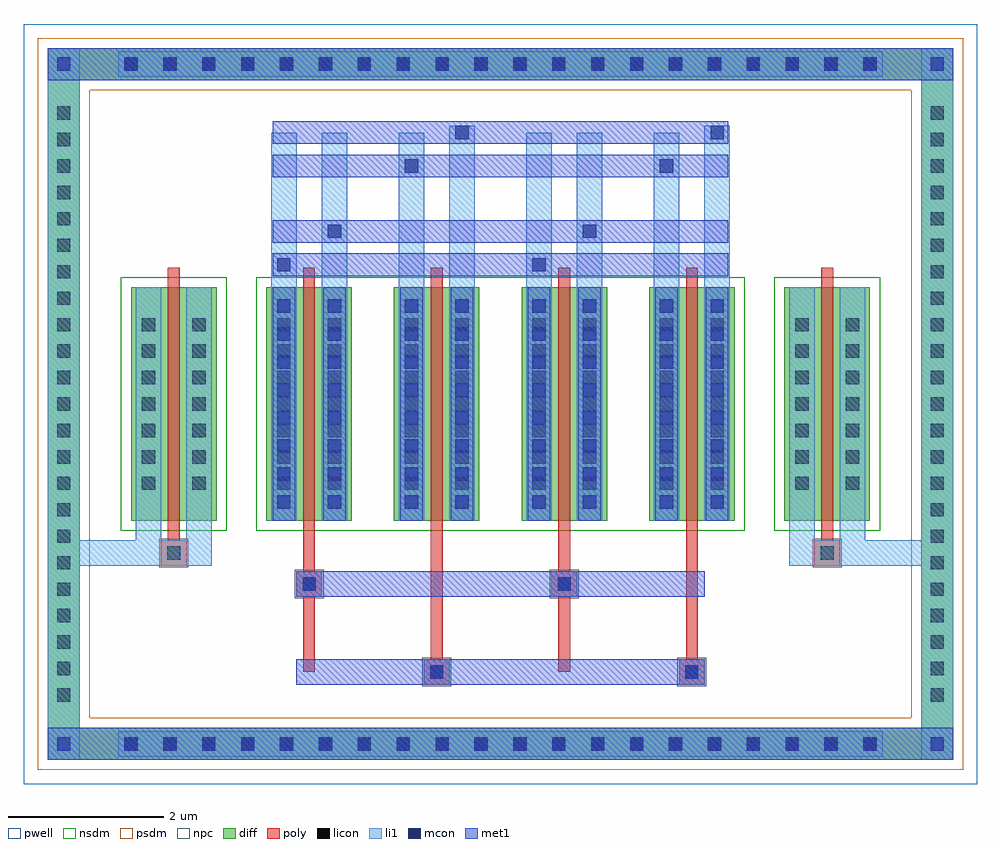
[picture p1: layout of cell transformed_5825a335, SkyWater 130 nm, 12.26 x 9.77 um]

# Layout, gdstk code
import gdstk
lib = gdstk.Library(unit=1e-6, precision=5e-09)
def R(c, l, rs):  # rectangles x0, y0, x1, y1
    for r in rs: c.add(gdstk.rectangle(r[:2], r[2:], *l))
def A(c, l, x, y, w, h, nx, ny, dx, dy):  # array of equal rectangles
    R(c, l, [(x+i*dx, y+j*dy, x+i*dx+w, y+j*dy+h) for i in range(nx) for j in range(ny)])
def P(c, l, *ps):  # polygons
    for p in ps: c.add(gdstk.Polygon(p, *l))
pwell = (64, 44)
diff = (65, 20)
poly = (66, 20)
licon = (66, 44)
li1 = (67, 20)
mcon = (67, 44)
met1 = (68, 20)
nsdm = (93, 44)
psdm = (94, 20)
npc = (95, 20)

unnamed_1f8a75d1_1 = lib.new_cell('Unnamed_1f8a75d1$1')
A(unnamed_1f8a75d1_1, diff, -4.955, -4.575, 0.41, 0.41, 20, 2, 0.5, 8.74)
A(unnamed_1f8a75d1_1, diff, -5.82, -3.945, 0.41, 0.41, 1, 23, 0, 0.34)
A(unnamed_1f8a75d1_1, diff, 5.41, -3.945, 0.41, 0.41, 1, 23, 0, 0.34)
R(unnamed_1f8a75d1_1, diff, [(-4.955,-4.575,4.955,-4.165), (-5.82,-3.945,-5.41,3.945), (5.41,-3.945,5.82,3.945), (-4.955,4.165,4.955,4.575)])
P(unnamed_1f8a75d1_1, diff, [(5.82,4.575),(-5.82,4.575),(-5.82,-4.165),(-5.41,-4.165),(-5.41,4.165),(5.41,4.165),(5.41,-4.165),(-5.41,-4.165),(-5.82,-4.165),(-5.82,-4.575),(5.82,-4.575)])
A(unnamed_1f8a75d1_1, licon, -4.835, -4.455, 0.17, 0.17, 20, 2, 0.5, 8.74)
A(unnamed_1f8a75d1_1, licon, -5.7, -3.825, 0.17, 0.17, 1, 23, 0, 0.34)
A(unnamed_1f8a75d1_1, licon, 5.53, -3.825, 0.17, 0.17, 1, 23, 0, 0.34)
A(unnamed_1f8a75d1_1, li1, -4.915, -4.535, 0.33, 0.33, 20, 2, 0.5, 8.74)
A(unnamed_1f8a75d1_1, li1, -5.78, -3.905, 0.33, 0.33, 1, 23, 0, 0.34)
A(unnamed_1f8a75d1_1, li1, 5.45, -3.905, 0.33, 0.33, 1, 23, 0, 0.34)
R(unnamed_1f8a75d1_1, li1, [(-5.82,-4.575,-5.41,-4.165), (5.41,-4.575,5.82,-4.165), (-4.915,-4.535,4.915,-4.205), (-5.7,-4.455,-5.53,-4.285), (-5.7,-4.455,-5.53,-4.285), (5.53,-4.455,5.7,-4.285), (5.53,-4.455,5.7,-4.285), (-5.82,-4.165,-5.41,4.165), (5.41,-4.165,5.82,4.165), (-5.82,4.165,-5.41,4.575), (5.41,4.165,5.82,4.575), (-4.915,4.205,4.915,4.535), (-5.7,4.285,-5.53,4.455), (-5.7,4.285,-5.53,4.455), (5.53,4.285,5.7,4.455), (5.53,4.285,5.7,4.455)])
A(unnamed_1f8a75d1_1, mcon, -4.835, -4.455, 0.17, 0.17, 20, 2, 0.5, 8.74)
R(unnamed_1f8a75d1_1, mcon, [(-5.7,-4.455,-5.53,-4.285), (5.53,-4.455,5.7,-4.285), (-5.7,4.285,-5.53,4.455), (5.53,4.285,5.7,4.455)])
A(unnamed_1f8a75d1_1, met1, -4.895, -4.515, 0.29, 0.29, 20, 2, 0.5, 8.74)
R(unnamed_1f8a75d1_1, met1, [(-5.82,-4.575,-5.41,-4.165), (-5.82,-4.575,-5.41,-4.165), (-5.41,-4.575,5.41,-4.165), (5.41,-4.575,5.82,-4.165), (5.41,-4.575,5.82,-4.165), (-5.76,-4.515,-5.47,-4.225), (5.47,-4.515,5.76,-4.225), (-5.82,4.165,-5.41,4.575), (-5.82,4.165,-5.41,4.575), (-5.41,4.165,5.41,4.575), (5.41,4.165,5.82,4.575), (5.41,4.165,5.82,4.575), (-5.76,4.225,-5.47,4.515), (5.47,4.225,5.76,4.515)])
P(unnamed_1f8a75d1_1, psdm, [(5.95,4.705),(-5.95,4.705),(-5.95,-4.035),(-5.28,-4.035),(-5.28,4.035),(5.28,4.035),(5.28,-4.035),(-5.28,-4.035),(-5.95,-4.035),(-5.95,-4.705),(5.95,-4.705)])

straight_route_d74154d6_ = lib.new_cell('straight_route_d74154d6$1')
R(straight_route_d74154d6_, li1, [(-5.82,-2.08,-4.365,-1.75)])

straight_route_7f09cb2a_ = lib.new_cell('straight_route_7f09cb2a$1')
R(straight_route_7f09cb2a_, li1, [(4.365,-2.08,5.82,-1.75)])

transformed_5825a335 = lib.new_cell('transformed_5825a335')
R(transformed_5825a335, pwell, [(-6.13,-4.885,6.13,4.885)])
A(transformed_5825a335, diff, -3.01, -1.5, 1.1, 3, 4, 1, 1.64, 0)
R(transformed_5825a335, diff, [(-4.75,-1.5,-3.65,1.5), (3.65,-1.5,4.75,1.5)])
A(transformed_5825a335, poly, -2.535, -1.75, 0.15, 3.5, 4, 1, 1.64, 0)
R(transformed_5825a335, poly, [(-0.985,-3.61,-0.655,-3.28), (-0.985,-3.61,-0.655,-3.28), (2.295,-3.61,2.625,-3.28), (2.295,-3.61,2.625,-3.28), (-2.535,-3.445,-2.385,-1.75), (0.745,-3.445,0.895,-1.75), (-0.895,-3.28,-0.745,-1.75), (2.385,-3.28,2.535,-1.75), (-2.625,-2.48,-2.295,-2.15), (-2.625,-2.48,-2.295,-2.15), (0.655,-2.48,0.985,-2.15), (0.655,-2.48,0.985,-2.15), (-2.535,-2.15,-2.385,-1.75), (0.745,-2.15,0.895,-1.75), (-4.365,-2.08,-4.035,-1.75), (-4.365,-2.08,-4.035,-1.75), (4.035,-2.08,4.365,-1.75), (4.035,-2.08,4.365,-1.75), (-4.275,-1.75,-4.125,1.75), (4.125,-1.75,4.275,1.75)])
A(transformed_5825a335, licon, -4.61, -1.105, 0.17, 0.17, 1, 7, 0, 0.34)
A(transformed_5825a335, licon, -3.96, -1.105, 0.17, 0.17, 1, 7, 0, 0.34)
A(transformed_5825a335, licon, -2.87, -1.105, 0.17, 0.17, 1, 7, 0, 0.34)
A(transformed_5825a335, licon, -2.22, -1.105, 0.17, 0.17, 1, 7, 0, 0.34)
A(transformed_5825a335, licon, -1.23, -1.105, 0.17, 0.17, 1, 7, 0, 0.34)
A(transformed_5825a335, licon, -0.58, -1.105, 0.17, 0.17, 1, 7, 0, 0.34)
A(transformed_5825a335, licon, 0.41, -1.105, 0.17, 0.17, 1, 7, 0, 0.34)
A(transformed_5825a335, licon, 1.06, -1.105, 0.17, 0.17, 1, 7, 0, 0.34)
A(transformed_5825a335, licon, 2.05, -1.105, 0.17, 0.17, 1, 7, 0, 0.34)
A(transformed_5825a335, licon, 2.7, -1.105, 0.17, 0.17, 1, 7, 0, 0.34)
A(transformed_5825a335, licon, 3.79, -1.105, 0.17, 0.17, 1, 7, 0, 0.34)
A(transformed_5825a335, licon, 4.44, -1.105, 0.17, 0.17, 1, 7, 0, 0.34)
R(transformed_5825a335, licon, [(-0.905,-3.53,-0.735,-3.36), (2.375,-3.53,2.545,-3.36), (-2.545,-2.4,-2.375,-2.23), (0.735,-2.4,0.905,-2.23), (-4.285,-2,-4.115,-1.83), (4.115,-2,4.285,-1.83)])
A(transformed_5825a335, li1, -2.87, -1.345, 0.17, 0.17, 1, 8, 0, 0.36)
A(transformed_5825a335, li1, -2.22, -1.345, 0.17, 0.17, 1, 8, 0, 0.36)
A(transformed_5825a335, li1, -1.23, -1.345, 0.17, 0.17, 1, 8, 0, 0.36)
A(transformed_5825a335, li1, -0.58, -1.345, 0.17, 0.17, 1, 8, 0, 0.36)
A(transformed_5825a335, li1, 0.41, -1.345, 0.17, 0.17, 1, 8, 0, 0.36)
A(transformed_5825a335, li1, 1.06, -1.345, 0.17, 0.17, 1, 8, 0, 0.36)
A(transformed_5825a335, li1, 2.05, -1.345, 0.17, 0.17, 1, 8, 0, 0.36)
A(transformed_5825a335, li1, 2.7, -1.345, 0.17, 0.17, 1, 8, 0, 0.36)
A(transformed_5825a335, li1, -4.69, -1.185, 0.33, 0.33, 1, 7, 0, 0.34)
A(transformed_5825a335, li1, -4.04, -1.185, 0.33, 0.33, 1, 7, 0, 0.34)
A(transformed_5825a335, li1, -2.95, -1.185, 0.33, 0.33, 1, 7, 0, 0.34)
A(transformed_5825a335, li1, -2.3, -1.185, 0.33, 0.33, 1, 7, 0, 0.34)
A(transformed_5825a335, li1, -1.31, -1.185, 0.33, 0.33, 1, 7, 0, 0.34)
A(transformed_5825a335, li1, -0.66, -1.185, 0.33, 0.33, 1, 7, 0, 0.34)
A(transformed_5825a335, li1, 0.33, -1.185, 0.33, 0.33, 1, 7, 0, 0.34)
A(transformed_5825a335, li1, 0.98, -1.185, 0.33, 0.33, 1, 7, 0, 0.34)
A(transformed_5825a335, li1, 1.97, -1.185, 0.33, 0.33, 1, 7, 0, 0.34)
A(transformed_5825a335, li1, 2.62, -1.185, 0.33, 0.33, 1, 7, 0, 0.34)
A(transformed_5825a335, li1, 3.71, -1.185, 0.33, 0.33, 1, 7, 0, 0.34)
A(transformed_5825a335, li1, 4.36, -1.185, 0.33, 0.33, 1, 7, 0, 0.34)
R(transformed_5825a335, li1, [(-0.985,-3.61,-0.655,-3.28), (2.295,-3.61,2.625,-3.28), (-2.625,-2.48,-2.295,-2.15), (0.655,-2.48,0.985,-2.15), (-4.69,-2.08,-4.365,-1.75), (-4.69,-2.08,-4.36,-1.5), (-4.365,-2.08,-4.035,-1.75), (-4.04,-2.08,-3.71,-1.5), (-4.035,-2.08,-3.71,-1.75), (3.71,-2.08,4.035,-1.75), (3.71,-2.08,4.04,-1.5), (4.035,-2.08,4.365,-1.75), (4.36,-2.08,4.69,-1.5), (4.365,-2.08,4.69,-1.75), (-4.69,-1.5,-4.36,1.5), (-4.04,-1.5,-3.71,1.5), (-2.95,-1.5,-2.62,1.5), (-2.3,-1.5,-1.97,1.5), (-1.31,-1.5,-0.98,1.5), (-0.66,-1.5,-0.33,1.5), (0.33,-1.5,0.66,1.5), (0.98,-1.5,1.31,1.5), (1.97,-1.5,2.3,1.5), (2.62,-1.5,2.95,1.5), (3.71,-1.5,4.04,1.5), (4.36,-1.5,4.69,1.5), (-2.87,-1.345,-2.7,1.345), (-2.22,-1.345,-2.05,1.345), (-1.23,-1.345,-1.06,1.345), (-0.58,-1.345,-0.41,1.345), (0.41,-1.345,0.58,1.345), (1.06,-1.345,1.23,1.345), (2.05,-1.345,2.22,1.345), (2.7,-1.345,2.87,1.345), (-2.95,1.5,-2.62,1.875), (-2.95,1.5,-2.62,3.49), (-2.3,1.5,-1.97,2.305), (-2.3,1.5,-1.97,3.49), (-1.31,1.5,-0.98,3.145), (-1.31,1.5,-0.98,3.49), (-0.66,1.5,-0.33,3.575), (-0.66,1.5,-0.33,3.49), (0.33,1.5,0.66,1.875), (0.33,1.5,0.66,3.49), (0.98,1.5,1.31,2.305), (0.98,1.5,1.31,3.49), (1.97,1.5,2.3,3.145), (1.97,1.5,2.3,3.49), (2.62,1.5,2.95,3.575), (2.62,1.5,2.95,3.49), (-2.87,1.705,-2.7,1.875), (0.41,1.705,0.58,1.875), (-2.22,2.135,-2.05,2.305), (1.06,2.135,1.23,2.305), (-1.23,2.975,-1.06,3.145), (2.05,2.975,2.22,3.145), (-0.58,3.405,-0.41,3.575), (2.7,3.405,2.87,3.575)])
A(transformed_5825a335, mcon, -2.87, -1.345, 0.17, 0.17, 1, 8, 0, 0.36)
A(transformed_5825a335, mcon, -2.22, -1.345, 0.17, 0.17, 1, 8, 0, 0.36)
A(transformed_5825a335, mcon, -1.23, -1.345, 0.17, 0.17, 1, 8, 0, 0.36)
A(transformed_5825a335, mcon, -0.58, -1.345, 0.17, 0.17, 1, 8, 0, 0.36)
A(transformed_5825a335, mcon, 0.41, -1.345, 0.17, 0.17, 1, 8, 0, 0.36)
A(transformed_5825a335, mcon, 1.06, -1.345, 0.17, 0.17, 1, 8, 0, 0.36)
A(transformed_5825a335, mcon, 2.05, -1.345, 0.17, 0.17, 1, 8, 0, 0.36)
A(transformed_5825a335, mcon, 2.7, -1.345, 0.17, 0.17, 1, 8, 0, 0.36)
R(transformed_5825a335, mcon, [(-0.905,-3.53,-0.735,-3.36), (2.375,-3.53,2.545,-3.36), (-2.545,-2.4,-2.375,-2.23), (0.735,-2.4,0.905,-2.23), (-2.87,1.705,-2.7,1.875), (0.41,1.705,0.58,1.875), (-2.22,2.135,-2.05,2.305), (1.06,2.135,1.23,2.305), (-1.23,2.975,-1.06,3.145), (2.05,2.975,2.22,3.145), (-0.58,3.405,-0.41,3.575), (2.7,3.405,2.87,3.575)])
A(transformed_5825a335, met1, -2.93, -1.405, 0.29, 0.29, 1, 8, 0, 0.36)
A(transformed_5825a335, met1, -2.28, -1.405, 0.29, 0.29, 1, 8, 0, 0.36)
A(transformed_5825a335, met1, -1.29, -1.405, 0.29, 0.29, 1, 8, 0, 0.36)
A(transformed_5825a335, met1, -0.64, -1.405, 0.29, 0.29, 1, 8, 0, 0.36)
A(transformed_5825a335, met1, 0.35, -1.405, 0.29, 0.29, 1, 8, 0, 0.36)
A(transformed_5825a335, met1, 1, -1.405, 0.29, 0.29, 1, 8, 0, 0.36)
A(transformed_5825a335, met1, 1.99, -1.405, 0.29, 0.29, 1, 8, 0, 0.36)
A(transformed_5825a335, met1, 2.64, -1.405, 0.29, 0.29, 1, 8, 0, 0.36)
R(transformed_5825a335, met1, [(-2.625,-3.61,2.625,-3.28), (-0.985,-3.61,-0.655,-3.28), (2.295,-3.61,2.625,-3.28), (-0.965,-3.59,-0.675,-3.3), (2.315,-3.59,2.605,-3.3), (-2.625,-2.48,-2.295,-2.15), (-2.625,-2.48,2.625,-2.15), (0.655,-2.48,0.985,-2.15), (-2.605,-2.46,-2.315,-2.17), (0.675,-2.46,0.965,-2.17), (-2.93,-1.5,-2.64,1.5), (-2.28,-1.5,-1.99,1.5), (-1.29,-1.5,-1,1.5), (-0.64,-1.5,-0.35,1.5), (0.35,-1.5,0.64,1.5), (1,-1.5,1.29,1.5), (1.99,-1.5,2.28,1.5), (2.64,-1.5,2.93,1.5), (-2.93,1.645,-2.64,1.935), (-2.93,1.645,-1.99,1.935), (-2.93,1.645,2.93,1.935), (0.35,1.645,0.64,1.935), (0.35,1.645,1.29,1.935), (-2.93,2.075,-1.99,2.365), (-2.93,2.075,2.93,2.365), (-2.28,2.075,-1.99,2.365), (0.35,2.075,1.29,2.365), (1,2.075,1.29,2.365), (-2.93,2.915,2.93,3.205), (-1.29,2.915,-1,3.205), (-1.29,2.915,-0.35,3.205), (1.99,2.915,2.28,3.205), (1.99,2.915,2.93,3.205), (-2.93,3.345,2.93,3.635), (-1.29,3.345,-0.35,3.635), (-0.64,3.345,-0.35,3.635), (1.99,3.345,2.93,3.635), (2.64,3.345,2.93,3.635)])
A(transformed_5825a335, nsdm, -3.14, -1.63, 1.36, 3.26, 4, 1, 1.64, 0)
R(transformed_5825a335, nsdm, [(-4.88,-1.63,-3.52,1.63), (-3.14,-1.63,3.14,1.63), (3.52,-1.63,4.88,1.63)])
R(transformed_5825a335, npc, [(-1.005,-3.63,-0.635,-3.26), (-1.005,-3.63,-0.635,-3.26), (2.275,-3.63,2.645,-3.26), (-2.645,-2.5,-2.275,-2.13), (0.635,-2.5,1.005,-2.13), (0.635,-2.5,1.005,-2.13), (-4.385,-2.1,-4.015,-1.73), (4.015,-2.1,4.385,-1.73)])
transformed_5825a335.add(gdstk.Reference(unnamed_1f8a75d1_1, (0,0)))
transformed_5825a335.add(gdstk.Reference(straight_route_d74154d6_, (0,0)))
transformed_5825a335.add(gdstk.Reference(straight_route_7f09cb2a_, (0,0)))

lib.write_gds('transformed_5825a335.gds')
